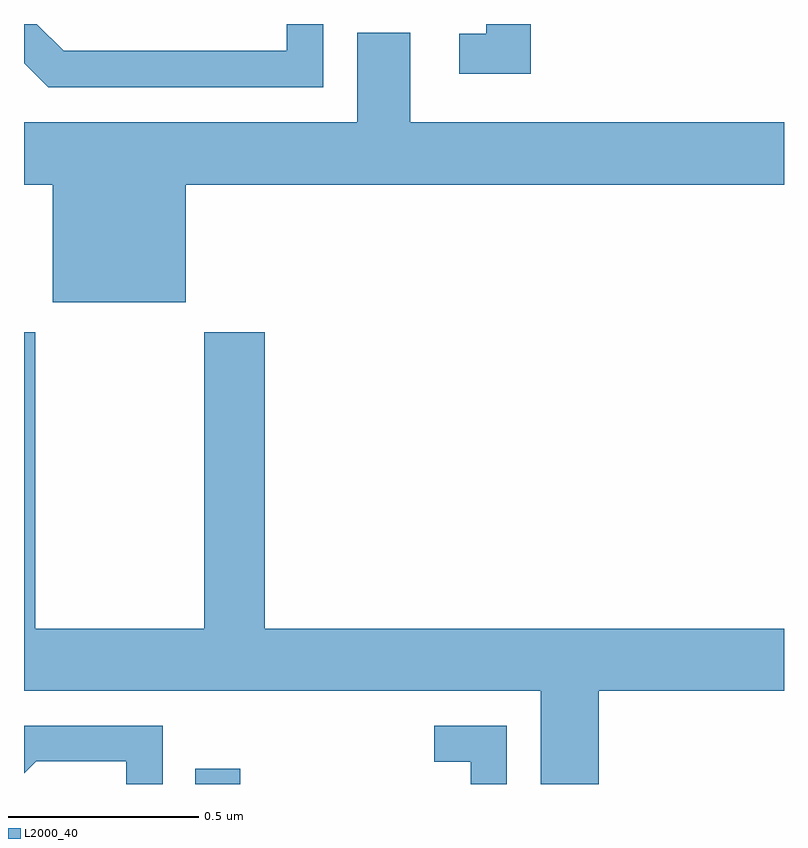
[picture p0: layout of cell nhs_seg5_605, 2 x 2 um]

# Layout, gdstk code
import gdstk
lib = gdstk.Library(unit=1e-6, precision=1e-09)
def R(c, l, rs):  # rectangles x0, y0, x1, y1
    for r in rs: c.add(gdstk.rectangle(r[:2], r[2:], *l))
def P(c, l, *ps):  # polygons
    for p in ps: c.add(gdstk.Polygon(p, *l))
L2000_40 = (2000, 40)

nhs_seg5_605 = lib.new_cell('nhs_seg5_605')
R(nhs_seg5_605, L2000_40, [(118.45,905.799,118.569,905.839)])
P(nhs_seg5_605, L2000_40, [(118.788,907.799),(118.691,907.799),(118.691,907.728),(118.207,907.728),(118.207,907.729),(118.104,907.729),(118.033,907.799),(118,907.799),(118,907.696),(118.064,907.632),(118.788,907.632)],
  [(119.333,907.799),(119.217,907.799),(119.217,907.773),(119.145,907.773),(119.145,907.668),(119.333,907.668)],
  [(118.426,907.376),(120,907.376),(120,907.54),(119.017,907.54),(119.017,907.776),(118.877,907.776),(118.877,907.54),(118,907.54),(118,907.376),(118.076,907.376),(118.076,907.067),(118.426,907.067)],
  [(119.513,906.044),(120,906.044),(120,906.208),(118.634,906.208),(118.634,906.988),(118.474,906.988),(118.474,906.208),(118.029,906.208),(118.029,906.988),(118,906.988),(118,906.044),(119.36,906.044),(119.36,905.799),(119.513,905.799)],
  [(119.271,905.952),(119.08,905.952),(119.08,905.857),(119.175,905.857),(119.175,905.799),(119.271,905.799)],
  [(118.365,905.952),(118,905.952),(118,905.827),(118.032,905.859),(118.269,905.859),(118.269,905.799),(118.365,905.799)])

lib.write_gds('nhs_seg5_605.gds')
